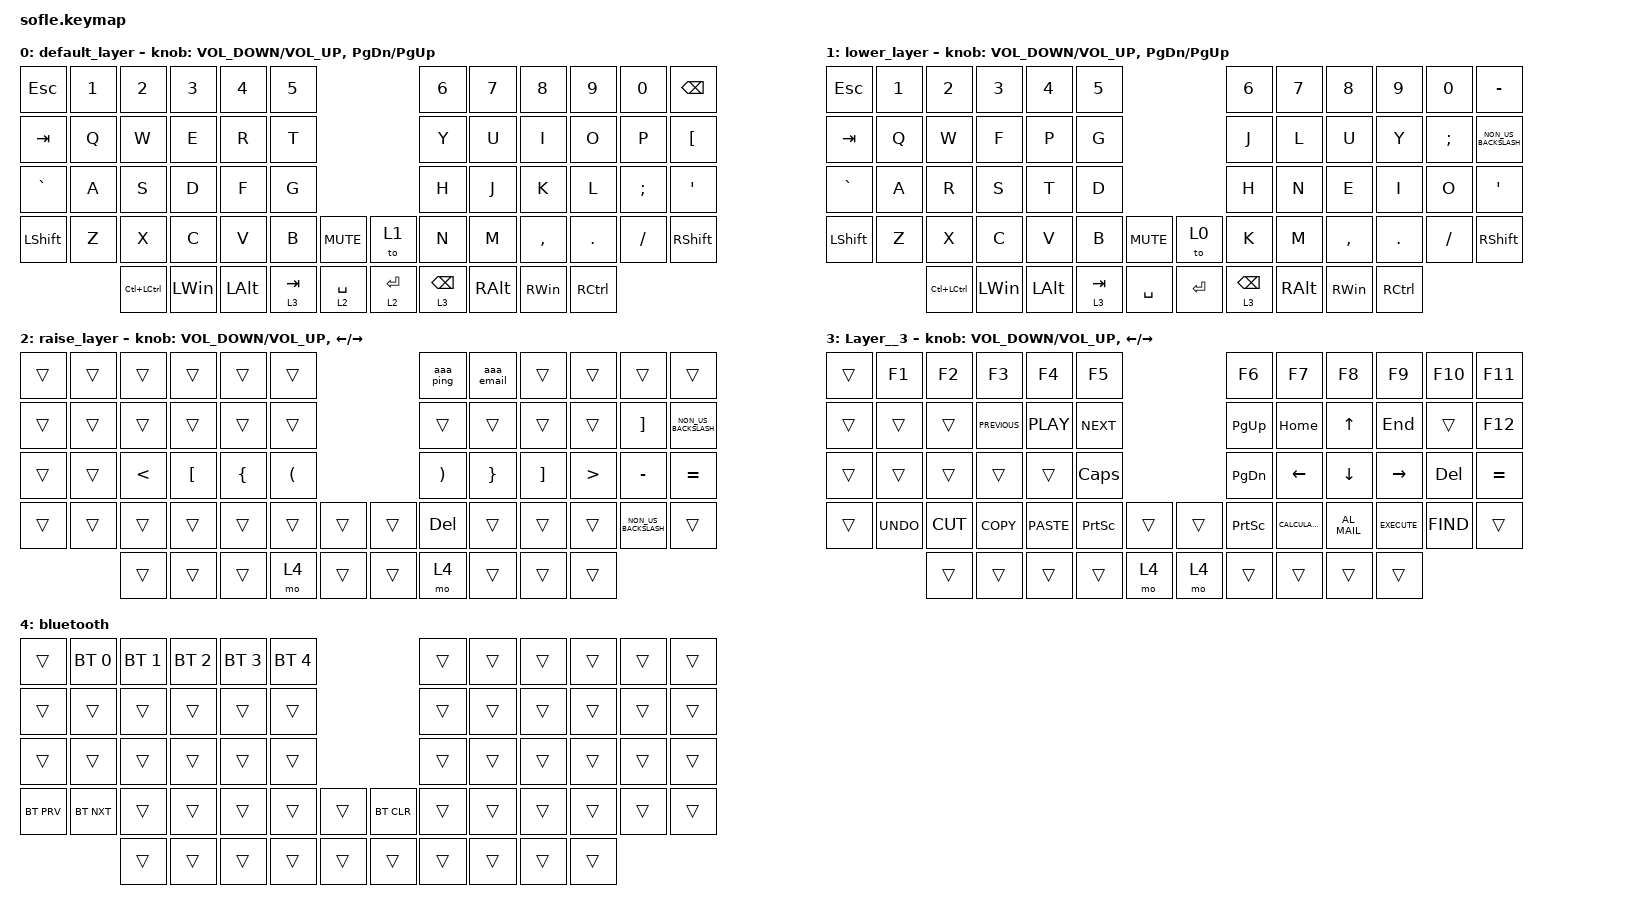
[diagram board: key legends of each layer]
/*
 * Copyright (c) 2020 The ZMK Contributors
 *
 * SPDX-License-Identifier: MIT
 */

#include <behaviors.dtsi>
#include <dt-bindings/zmk/bt.h>
#include <dt-bindings/zmk/keys.h>

/ {
    combos {
        compatible = "zmk,combos";

        new_combo {
            bindings = <&trans>;
            key-positions = <>;
        };
    };

    macros {
        aaa_ping: aaa_ping {
            compatible = "zmk,behavior-macro";
            label = "AAA_PING";
            #binding-cells = <0>;
            bindings = <&none &kp P &kp I &kp N &kp G &kp SPACE &kp N8 &kp DOT &kp N8 &kp DOT &kp N8 &kp DOT &kp N8>;
        };
        aaa_email: aaa_email {
            compatible = "zmk,behavior-macro";
            label = "AAA_EMAIL";
            #binding-cells = <0>;
            bindings = <&none  &kp AT &kp G &kp M &kp A &kp I &kp L &kp DOT &kp C &kp O &kp M>;
        };
    };

    keymap {
        compatible = "zmk,keymap";

        default_layer {
            // ------------------------------------------------------------------------------------------------------------
            // |  `    |  1  |  2  |  3   |  4   |  5   |                   |  6   |  7    |  8    |  9   |   0   |       |
            // |  ESC  |  Q  |  W  |  E   |  R   |  T   |                   |  Y   |  U    |  I    |  O   |   P   | BKSPC |
            // |  TAB  |  A  |  S  |  D   |  F   |  G   |                   |  H   |  J    |  K    |  L   |   ;   |   '   |
            // | SHIFT |  Z  |  X  |  C   |  V   |  B   |  MUTE  |  |       |  N   |  M    |  ,    |  .   |   /   | SHIFT |
            //               | GUI | ALT  | CTRL | LOWER|  ENTER |  | SPACE | RAISE| CTRL  | ALT   | GUI  |

            bindings = <
&kp ESCAPE  &kp NUMBER_1  &kp N2         &kp N3    &kp N4    &kp N5                               &kp N6      &kp N7    &kp N8     &kp N9      &kp N0     &kp BACKSPACE
&kp TAB     &kp Q         &kp W          &kp E     &kp R     &kp T                                &kp Y       &kp U     &kp I      &kp O       &kp P      &kp LEFT_BRACKET
&kp GRAVE   &kp A         &kp S          &kp D     &kp F     &kp G                                &kp H       &kp J     &kp K      &kp L       &kp SEMI   &kp SINGLE_QUOTE
&kp LSHFT   &kp Z         &kp X          &kp C     &kp V     &kp B      &kp K_MUTE   &to 1        &kp N       &kp M     &kp COMMA  &kp PERIOD  &kp SLASH  &kp RSHFT
                          &kp LC(LCTRL)  &kp LWIN  &kp LALT  &lt 3 TAB  &lt 2 SPACE  &lt 2 ENTER  &lt 3 BSPC  &kp RALT  &kp RWIN   &kp RCTRL
            >;

            sensor-bindings =
                <&inc_dec_kp C_VOLUME_DOWN C_VOLUME_UP>,
                <&inc_dec_kp PAGE_DOWN PAGE_UP>;
        };

        lower_layer {
            // TODO: Some binds are waiting for shifted keycode support.
            // ------------------------------------------------------------------------------------------------------------
            // |       |  F1 |  F2 |  F3  |  F4  |  F5  |                   |  F6  |  F7   |  F8   |  F9  |  F10  |  F11  |
            // | `     |   1 |   2 |   3  |   4  |   5  |                   |   6  |   7   |   8   |   9  |    0  |  F12  |
            // |       |  !  |  @  |  #   |  $   |  %   |                   |  ^   |  &    |  *    |  (   |   )   |   |   |
            // |       |  =  |  -  |  +   |  {   |  }   |        |  |       |  [   |  ]    |  ;    |  :   |   \   |       |
            //               |     |      |      |      |        |  |       |      |       |       |      |

            bindings = <
&kp ESCAPE  &kp NUMBER_1  &kp N2         &kp NUMBER_3  &kp N4    &kp N5                            &kp N6           &kp N7    &kp N8     &kp N9      &kp N0    &kp MINUS
&kp TAB     &kp Q         &kp W          &kp F         &kp P     &kp G                             &kp J            &kp L     &kp U      &kp Y       &kp SEMI  &kp NON_US_BACKSLASH
&kp GRAVE   &kp A         &kp R          &kp S         &kp T     &kp D                             &kp H            &kp N     &kp E      &kp I       &kp O     &kp SINGLE_QUOTE
&kp LSHFT   &kp Z         &kp X          &kp C         &kp V     &kp B      &kp K_MUTE  &to 0      &kp K            &kp M     &kp COMMA  &kp PERIOD  &kp FSLH  &kp RSHFT
                          &kp LC(LCTRL)  &kp LWIN      &kp LALT  &lt 3 TAB  &kp SPACE   &kp ENTER  &lt 3 BACKSPACE  &kp RALT  &kp RWIN   &kp RCTRL
            >;

            sensor-bindings =
                <&inc_dec_kp C_VOLUME_DOWN C_VOLUME_UP>,
                <&inc_dec_kp PG_DN PAGE_UP>;
        };

        raise_layer {
            // ------------------------------------------------------------------------------------------------------------
            // |BTCLR| BT1  | BT2  |  BT3  |  BT4  |  BT5 |                |      |      |       |      |       |       |
            // |     | INS  | PSCR | GUI   |       |      |                | PGUP |      |       |      |       |       |
            // |     | ALT  | CTRL | SHIFT |       | CAPS |                |  <-  |   ^  |   v   |  ->  |  DEL  | BKSPC |
            // |     | UNDO | CUT  | COPY  | PASTE |      |      |  |      |      |      |       |      |       |       |
            //              |      |       |       |      |      |  |      |      |      |       |      |

            bindings = <
&trans  &trans  &trans         &trans            &trans          &trans                                &aaa_ping              &aaa_email       &trans             &trans            &trans                &trans
&trans  &trans  &trans         &trans            &trans          &trans                                &trans                 &trans           &trans             &trans            &kp RIGHT_BRACKET     &kp NON_US_BACKSLASH
&trans  &trans  &kp LESS_THAN  &kp LEFT_BRACKET  &kp LEFT_BRACE  &kp LEFT_PARENTHESIS                  &kp RIGHT_PARENTHESIS  &kp RIGHT_BRACE  &kp RIGHT_BRACKET  &kp GREATER_THAN  &kp MINUS             &kp EQUAL
&trans  &trans  &trans         &trans            &trans          &trans                &trans  &trans  &kp DEL                &trans           &trans             &trans            &kp NON_US_BACKSLASH  &trans
                &trans         &trans            &trans          &mo 4                 &trans  &trans  &mo 4                  &trans           &trans             &trans
            >;

            sensor-bindings =
                <&inc_dec_kp C_VOLUME_DOWN C_VOL_UP>,
                <&inc_dec_kp LEFT_ARROW RIGHT_ARROW>;
        };

        Layer__3 {
            bindings = <
&trans  &kp F1      &kp F2     &kp F3          &kp F4       &kp F5                           &kp F6           &kp F7            &kp F8          &kp F9         &kp F10     &kp F11
&trans  &trans      &trans     &kp C_PREVIOUS  &kp C_PLAY   &kp K_NEXT                       &kp PG_UP        &kp HOME          &kp UP_ARROW    &kp END        &trans      &kp F12
&trans  &trans      &trans     &trans          &trans       &kp CAPSLOCK                     &kp PAGE_DOWN    &kp LEFT_ARROW    &kp DOWN_ARROW  &kp RIGHT      &kp DEL     &kp EQUAL
&trans  &kp K_UNDO  &kp K_CUT  &kp K_COPY      &kp K_PASTE  &kp PRINTSCREEN  &trans  &trans  &kp PRINTSCREEN  &kp K_CALCULATOR  &kp C_AL_MAIL   &kp K_EXECUTE  &kp K_FIND  &trans
                    &trans     &trans          &trans       &trans           &mo 4   &mo 4   &trans           &trans            &trans          &trans
            >;

            sensor-bindings =
                <&inc_dec_kp C_VOLUME_DOWN C_VOL_UP>,
                <&inc_dec_kp LEFT_ARROW RIGHT_ARROW>;
        };

        layer_4 {
            bindings = <
&trans      &bt BT_SEL 0  &bt BT_SEL 1  &bt BT_SEL 2  &bt BT_SEL 3  &bt BT_SEL 4                      &trans  &trans  &trans  &trans  &trans  &trans
&trans      &trans        &trans        &trans        &trans        &trans                            &trans  &trans  &trans  &trans  &trans  &trans
&trans      &trans        &trans        &trans        &trans        &trans                            &trans  &trans  &trans  &trans  &trans  &trans
&bt BT_PRV  &bt BT_NXT    &trans        &trans        &trans        &trans        &trans  &bt BT_CLR  &trans  &trans  &trans  &trans  &trans  &trans
                          &trans        &trans        &trans        &trans        &trans  &trans      &trans  &trans  &trans  &trans
            >;

            label = "bluetooth";
        };
    };
};
